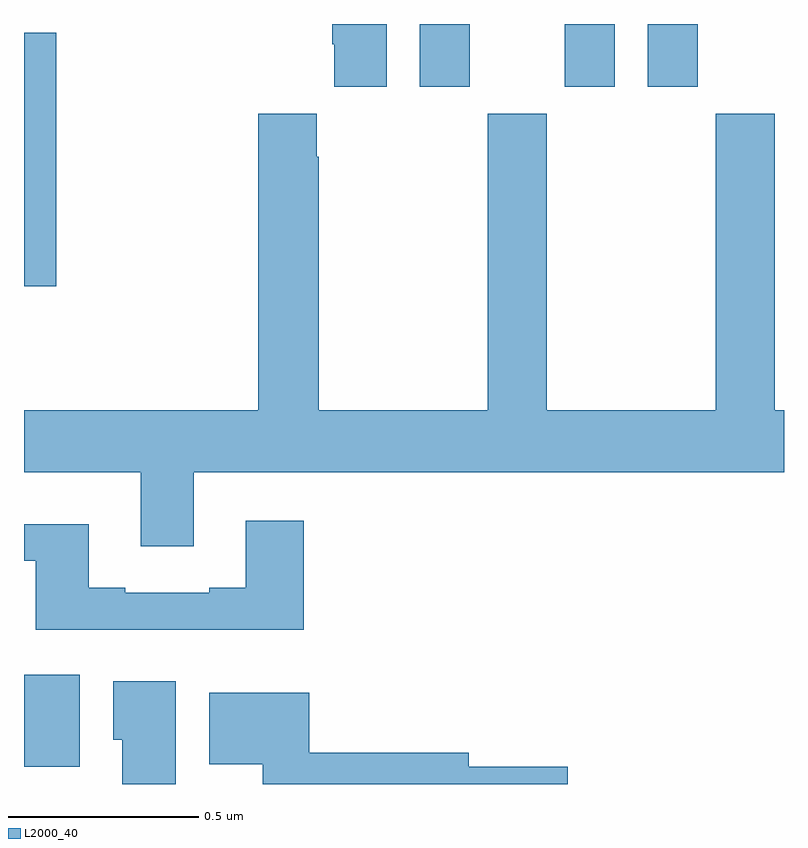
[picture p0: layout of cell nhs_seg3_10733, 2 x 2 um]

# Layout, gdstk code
import gdstk
lib = gdstk.Library(unit=1e-6, precision=1e-09)
def R(c, l, rs):  # rectangles x0, y0, x1, y1
    for r in rs: c.add(gdstk.rectangle(r[:2], r[2:], *l))
def P(c, l, *ps):  # polygons
    for p in ps: c.add(gdstk.Polygon(p, *l))
L2000_40 = (2000, 40)

nhs_seg3_10733 = lib.new_cell('nhs_seg3_10733')
R(nhs_seg3_10733, L2000_40, [(244,729.446,244.147,729.688), (244,730.71,244.085,731.377), (245.042,731.235,245.173,731.4), (245.423,731.235,245.554,731.4), (245.642,731.235,245.773,731.4)])
P(nhs_seg3_10733, L2000_40, [(244.954,731.4),(244.811,731.4),(244.811,731.347),(244.817,731.347),(244.817,731.235),(244.954,731.235)],
  [(244.447,730.22),(246,730.22),(246,730.384),(245.976,730.384),(245.976,731.164),(245.821,731.164),(245.821,730.384),(245.376,730.384),(245.376,731.164),(245.221,731.164),(245.221,730.384),(244.776,730.384),(244.776,731.051),(244.771,731.051),(244.771,731.164),(244.616,731.164),(244.616,730.384),(244,730.384),(244,730.22),(244.307,730.22),(244.307,730.026),(244.447,730.026)],
  [(244.736,730.093),(244.583,730.093),(244.583,729.916),(244.487,729.916),(244.487,729.903),(244.267,729.903),(244.267,729.916),(244.171,729.916),(244.171,730.084),(244,730.084),(244,729.987),(244.031,729.987),(244.031,729.806),(244.736,729.806)],
  [(244.399,729.67),(244.235,729.67),(244.235,729.516),(244.259,729.516),(244.259,729.4),(244.399,729.4)],
  [(245.431,729.446),(245.17,729.446),(245.17,729.482),(244.751,729.482),(244.751,729.64),(244.487,729.64),(244.487,729.452),(244.628,729.452),(244.628,729.4),(245.431,729.4)])

lib.write_gds('nhs_seg3_10733.gds')
